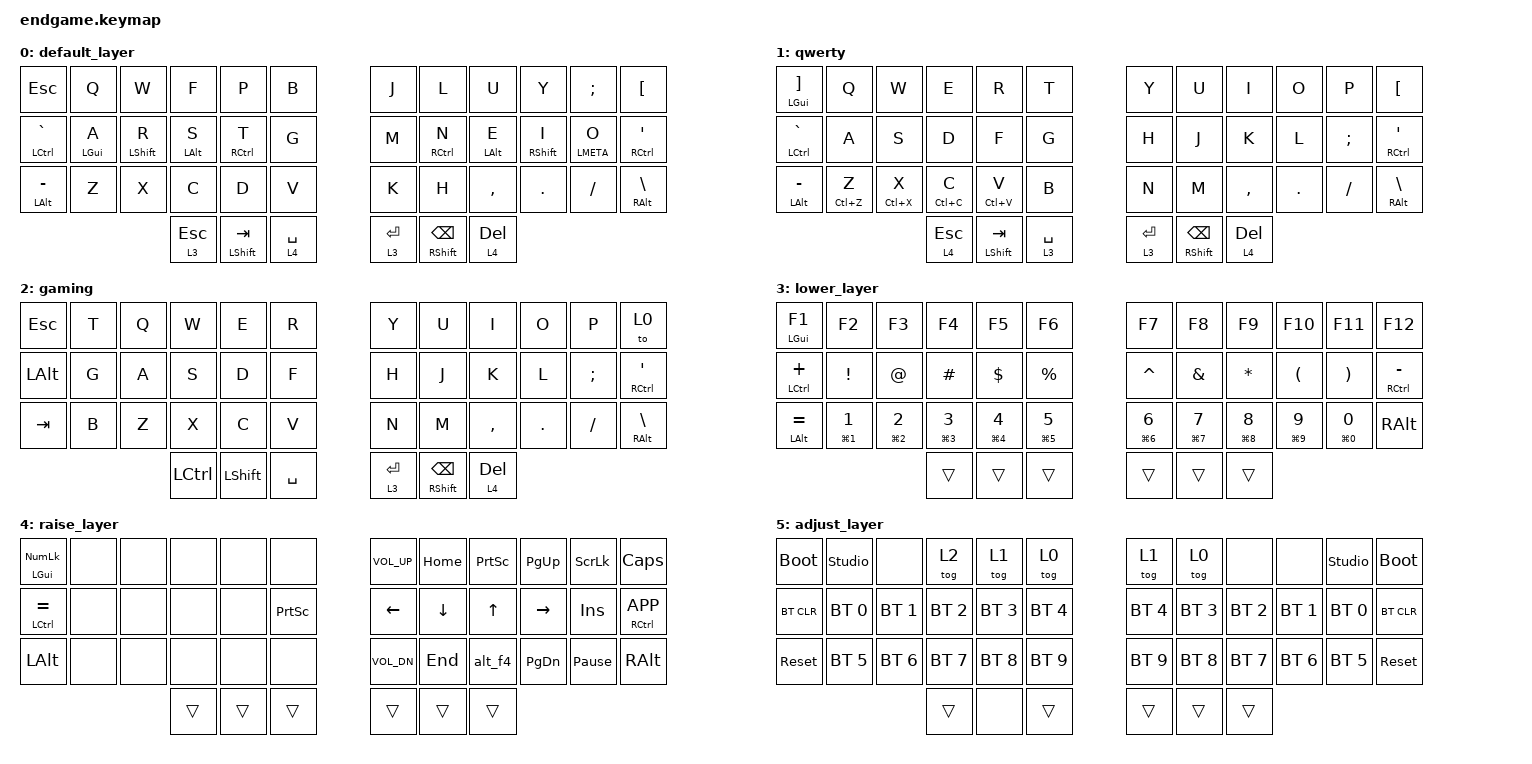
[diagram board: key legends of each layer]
#include <behaviors.dtsi>
#include <dt-bindings/zmk/bt.h>
#include <dt-bindings/zmk/keys.h>

#define DEF 0
#define LWR 1
#define RSE 2
#define ADJ 3

&lt { quick-tap-ms = <200>; };

&mt {
    quick-tap-ms = <200>;
    flavor = "balanced";
};

/ {
    conditional_layers {
        compatible = "zmk,conditional-layers";

        tri-layer {
            if-layers = <3 4>;
            then-layer = <5>;
        };
    };

    combos {
        compatible = "zmk,combos";

        menu {
            bindings = <&kp K_APPLICATION>;
            key-positions = <2 1>;
            layers = <0 1>;
        };

        queer-bracket-left {
            bindings = <&kp LBRC>;
            key-positions = <13 14>;
            layers = <0 1>;
        };

        angled_brackets_left {
            bindings = <&kp LT>;
            key-positions = <25 26>;
            layers = <0 1>;
        };

        screenshot {
            bindings = <&kp PRINTSCREEN>;
            key-positions = <2 3>;
            layers = <0 1>;
        };

        square-bracket-left {
            bindings = <&kp LBKT>;
            key-positions = <15 14>;
            layers = <0 1>;
        };

        equals {
            bindings = <&kp EQUAL>;
            key-positions = <26 27>;
            layers = <0 1>;
        };

        copy {
            bindings = <&kp LC(C)>;
            key-positions = <3 4>;
            layers = <0 1>;
        };

        bracket-left {
            bindings = <&kp LPAR>;
            key-positions = <15 16>;
            layers = <0 1>;
        };

        paste {
            bindings = <&kp LC(V)>;
            key-positions = <27 28>;
            layers = <0 1>;
        };

        home {
            bindings = <&kp HOME>;
            key-positions = <7 8>;
            layers = <0 1>;
        };

        bracket-Right {
            bindings = <&kp RPAR>;
            key-positions = <19 20>;
            layers = <0 1>;
        };

        end {
            bindings = <&kp END>;
            key-positions = <31 32>;
            layers = <0 1>;
        };

        square-bracket-Right {
            bindings = <&kp RBKT>;
            key-positions = <20 21>;
            layers = <0 1>;
        };

        quickrust {
            bindings = <&colonX2>;
            key-positions = <33 32>;
            layers = <0 1>;
        };

        lazy_colon {
            bindings = <&kp COLON>;
            key-positions = <9 10>;
            layers = <0 1>;
        };

        queer-bracket-right {
            bindings = <&kp RBRC>;
            key-positions = <22 21>;
            layers = <0 1>;
        };

        angled_brackets_right {
            bindings = <&kp GT>;
            key-positions = <33 34>;
            layers = <0 1>;
        };

        pg_up {
            bindings = <&kp PG_UP>;
            key-positions = <6 7>;
            layers = <0 1>;
        };

        pg_down {
            bindings = <&kp PG_DN>;
            key-positions = <30 31>;
            layers = <0 1>;
        };

        gaming_rescue {
            bindings = <&tog 0>;
            key-positions = <0 5>;
            layers = <2>;
        };

        rm {
            bindings = <&kp BACKSPACE>;
            key-positions = <8 9>;
        };
    };

    macros {
        colonX2: rust_double_colon {
            compatible = "zmk,behavior-macro";
            #binding-cells = <0>;
            bindings = <&kp COLON &kp COLON>;
            label = "RUST_DOUBLE_COLON";
        };

        alt_f4: alt_f4 {
            compatible = "zmk,behavior-macro";
            #binding-cells = <0>;
            bindings = <&kp LA(F4)>;
            label = "ALT_F4";
        };
    };

    keymap {
        compatible = "zmk,keymap";

        default_layer {
            bindings = <
&kp ESC          &kp Q           &kp W         &kp F       &kp P                &kp B          &kp J        &kp L                &kp U       &kp Y         &kp SEMI     &kp LBKT
&mt LCTRL GRAVE  &mt LEFT_GUI A  &mt LSHIFT R  &mt LALT S  &mt RIGHT_CONTROL T  &kp G          &kp M        &mt RIGHT_CONTROL N  &mt LALT E  &mt RSHIFT I  &mt LMETA O  &mt RCTRL SQT
&mt LALT MINUS   &kp Z           &kp X         &kp C       &kp D                &kp V          &kp K        &kp H                &kp COMMA   &kp DOT       &kp FSLH     &mt RALT BSLH
                                               &lt 3 ESC   &mt LSHFT TAB        &lt 4 SPACE    &lt 3 ENTER  &mt RSHFT BSPC       &lt 4 DEL
            >;
        };

        qwerty {
            bindings = <
&mt LGUI RBKT    &kp Q        &kp W        &kp E        &kp R          &kp T          &kp Y        &kp U           &kp I      &kp O    &kp P     &kp LBKT
&mt LCTRL GRAVE  &kp A        &kp S        &kp D        &kp F          &kp G          &kp H        &kp J           &kp K      &kp L    &kp SEMI  &mt RCTRL SQT
&mt LALT MINUS   &mt LC(Z) Z  &mt LC(X) X  &mt LC(C) C  &mt LC(V) V    &kp B          &kp N        &kp M           &kp COMMA  &kp DOT  &kp FSLH  &mt RALT BSLH
                                           &lt 4 ESC    &mt LSHFT TAB  &lt 3 SPACE    &lt 3 ENTER  &mt RSHFT BSPC  &lt 4 DEL
            >;
        };

        gaming {
            bindings = <
&kp ESC       &kp T  &kp Q  &kp W             &kp E      &kp R        &kp Y        &kp U           &kp I      &kp O    &kp P     &to 0
&kp LEFT_ALT  &kp G  &kp A  &kp S             &kp D      &kp F        &kp H        &kp J           &kp K      &kp L    &kp SEMI  &mt RCTRL SQT
&kp TAB       &kp B  &kp Z  &kp X             &kp C      &kp V        &kp N        &kp M           &kp COMMA  &kp DOT  &kp FSLH  &mt RALT BSLH
                            &kp LEFT_CONTROL  &kp LSHFT  &kp SPACE    &lt 3 ENTER  &mt RSHFT BSPC  &lt 4 DEL
            >;
        };

        lower_layer {
            bindings = <
&mt LGUI F1     &kp F2                     &kp F3                     &kp F4                     &kp F5                     &kp F6                       &kp F7                     &kp F8               &kp F9                     &kp F10                    &kp F11                    &kp F12
&mt LCTRL PLUS  &kp EXCL                   &kp AT                     &kp HASH                   &kp DLLR                   &kp PRCNT                    &kp CARET                  &kp AMPS             &kp STAR                   &kp LPAR                   &kp RPAR                   &mt RCTRL MINUS
&mt LALT EQUAL  &mt LG(NUMBER_1) NUMBER_1  &mt LG(NUMBER_2) NUMBER_2  &mt LG(NUMBER_3) NUMBER_3  &mt LG(NUMBER_4) NUMBER_4  &mt LG(NUMBER_5) NUMBER_5    &mt LG(NUMBER_6) NUMBER_6  &mt LG(NUMBER_7) N7  &mt LG(NUMBER_8) NUMBER_8  &mt LG(NUMBER_9) NUMBER_9  &mt LG(NUMBER_0) NUMBER_0  &kp RALT
                                                                      &trans                     &trans                     &trans                       &trans                     &trans               &trans
            >;
        };

        raise_layer {
            bindings = <
&mt LGUI KP_NUM  &none  &none  &none   &none   &none              &kp C_VOL_UP  &kp HOME  &kp PSCRN  &kp PG_UP  &kp SLCK         &kp CLCK
&mt LCTRL EQUAL  &none  &none  &none   &none   &kp PRINTSCREEN    &kp LEFT      &kp DOWN  &kp UP     &kp RIGHT  &kp INS          &mt RCTRL K_APP
&kp LALT         &none  &none  &none   &none   &none              &kp C_VOL_DN  &kp END   &alt_f4    &kp PG_DN  &kp PAUSE_BREAK  &kp RALT
                               &trans  &trans  &trans             &trans        &trans    &trans
            >;
        };

        adjust_layer {
            bindings = <
&bootloader  &studio_unlock  &none         &tog 2        &tog 1        &tog 0          &tog 1        &tog 0        &none         &none         &studio_unlock  &bootloader
&bt BT_CLR   &bt BT_SEL 0    &bt BT_SEL 1  &bt BT_SEL 2  &bt BT_SEL 3  &bt BT_SEL 4    &bt BT_SEL 4  &bt BT_SEL 3  &bt BT_SEL 2  &bt BT_SEL 1  &bt BT_SEL 0    &bt BT_CLR
&sys_reset   &bt BT_SEL 5    &bt BT_SEL 6  &bt BT_SEL 7  &bt BT_SEL 8  &bt BT_SEL 9    &bt BT_SEL 9  &bt BT_SEL 8  &bt BT_SEL 7  &bt BT_SEL 6  &bt BT_SEL 5    &sys_reset
                                           &trans        &none         &trans          &trans        &trans        &trans
            >;
        };
    };
};
